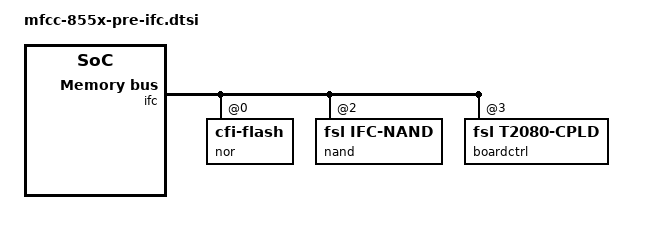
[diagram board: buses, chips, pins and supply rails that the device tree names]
/ {
	ifc: localbus@ffe124000 {
		reg = <0xf 0xfe124000 0 0x2000>;
		ranges = <0 0 0xf 0xe8000000 0x08000000
			  2 0 0xf 0xff800000 0x00010000
			  3 0 0xf 0xffdf0000 0x00008000>;

		nor@0,0 {
			#address-cells = <1>;
			#size-cells = <1>;
			compatible = "cfi-flash";
			reg = <0x0 0x0 0x8000000>;

			bank-width = <2>;
			device-width = <1>;
		};

		nand@1,0 {
			#address-cells = <1>;
			#size-cells = <1>;
			compatible = "fsl,ifc-nand";
			reg = <0x2 0x0 0x10000>;
		};

		boardctrl: board-control@2,0 {
			#address-cells = <1>;
			#size-cells = <1>;
			compatible = "fsl,t2080-cpld";
			reg = <3 0 0x300>;
			ranges = <0 3 0 0x300>;
		};
	};
};
